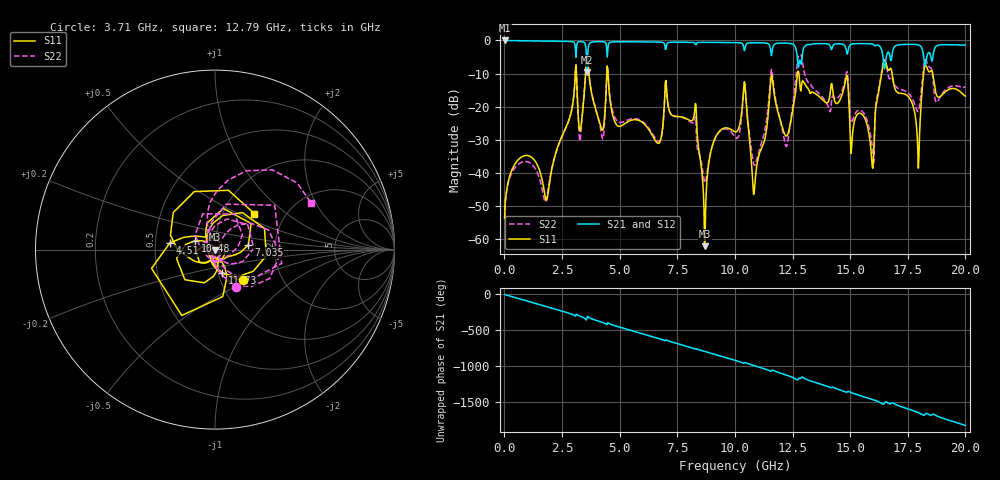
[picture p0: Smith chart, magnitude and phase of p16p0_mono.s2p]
! Stitch-density study - 40 x 12 mm symmetric stripline, cut at x=20 mm
! Case: p16p0_mono
! Sweep: 10 MHz - 20 GHz, 25 MHz step, 4 cores
# GHz S MA R 50.000000
! Terminal data exported
! Port[1] = U1.PAD1.SIG
! Port[2] = U2.PAD1.SIG
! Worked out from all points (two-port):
!   801 points, 10 MHz to 20 GHz, reference 50 ohm
!   highest |S21| = -0.02 dB at 10 MHz (marker M1); lowest = -9.6 dB at 3.585 GHz (marker M2)
!   |S21| within 3 dB of the highest: start of sweep to 3.086 GHz; 4.488 GHz to 10.41 GHz (5.92 GHz wide, 79.5 % of centre)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
!   lowest |S11| = -62.1 dB at 8.685 GHz (marker M3), VSWR 1.00, Z = 49.9 + j0.0173 ohm
!   |S11| at or under -10 dB: start of sweep to 3.076 GHz; 4.495 GHz to 12.71 GHz (8.219 GHz wide, 95.5 % of centre); 12.77 GHz to 16.37 GHz (3.592 GHz wide, 24.7 % of centre)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
!   |S22| runs from -53.7 to -3.8 dB; largest |S21 - S12| = 0
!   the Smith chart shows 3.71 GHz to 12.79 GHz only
!   S11 on the Smith chart (normalised r, x): 3.71 GHz: 1.27, -0.46; 4.51 GHz: 0.60, +0.05; 7.035 GHz: 1.45, +0.08; 10.48 GHz: 0.79, +0.08; 11.73 GHz: 1.04, -0.27; 12.79 GHz: 1.41, +0.62
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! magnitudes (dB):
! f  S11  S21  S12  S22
! 10 MHz  -53.7  0.0  0.0  -53.7
! 3.36 GHz  -23.8  -0.4  -0.4  -24.5
! 3.585 GHz  -4.1  -9.6  -9.6  -3.8
! 3.71 GHz  -12.8  -0.8  -0.8  -12.5
! 4.235 GHz  -27.1  -0.4  -0.4  -29.1
! 4.51 GHz  -11.9  -1.4  -1.4  -11.5
! 6.685 GHz  -31.1  -0.5  -0.5  -30.5
! 7.035 GHz  -14.5  -1.4  -1.4  -15.2
! 8.26 GHz  -21.0  -0.8  -0.8  -23.8
! 8.685 GHz  -62.1  -0.6  -0.6  -42.8
! 10.01 GHz  -27.6  -0.7  -0.7  -29.2
! 10.48 GHz  -18.2  -1.2  -1.2  -18.0
! 10.84 GHz  -46.1  -0.7  -0.7  -37.7
! 11.73 GHz  -17.5  -1.1  -1.1  -16.5
! 12.26 GHz  -28.8  -0.8  -0.8  -31.7
! 12.79 GHz  -10.5  -6.9  -6.9  -4.5
! 13.36 GHz  -15.6  -1.1  -1.1  -14.2
! 15.94 GHz  -36.0  -1.1  -1.1  -30.9
! 16.68 GHz  -9.0  -3.8  -3.8  -11.4
! 17.93 GHz  -33.0  -1.3  -1.3  -21.5
! 18.29 GHz  -7.5  -6.7  -6.7  -5.9
! 20 GHz  -16.8  -1.5  -1.5  -14.0
